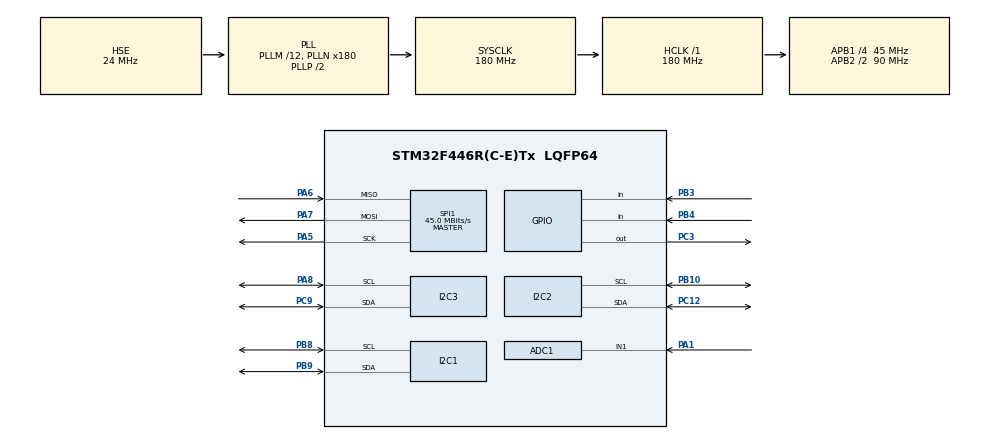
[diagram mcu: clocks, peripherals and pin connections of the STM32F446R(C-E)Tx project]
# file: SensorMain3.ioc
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ADC1.Channel-0\#ChannelRegularConversion=ADC_CHANNEL_1
ADC1.NbrOfConversionFlag=1
ADC1.Rank-0\#ChannelRegularConversion=1
ADC1.SamplingTime-0\#ChannelRegularConversion=ADC_SAMPLETIME_3CYCLES
ADC1.master=1
FATFS._MAX_SS=4096
FATFS._USE_LFN=1
I2C1.I2C_Mode=I2C_Fast
I2C3.I2C_Mode=I2C_Fast
Mcu.Family=STM32F4
Mcu.Name=STM32F446R(C-E)Tx
Mcu.Package=LQFP64
NVIC.PriorityGroup=NVIC_PRIORITYGROUP_4
PA1.Signal=ADCx_IN1
PA13.Mode=Serial_Wire
PA13.Signal=SYS_JTMS-SWDIO
PA14.Mode=Serial_Wire
PA14.Signal=SYS_JTCK-SWCLK
PA5.Mode=Full_Duplex_Master
PA5.Signal=SPI1_SCK
PA6.Mode=Full_Duplex_Master
PA6.Signal=SPI1_MISO
PA7.Mode=Full_Duplex_Master
PA7.Signal=SPI1_MOSI
PA8.Mode=I2C
PA8.Signal=I2C3_SCL
PB10.Mode=I2C
PB10.Signal=I2C2_SCL
PB3.Signal=GPIO_Input
PB4.Signal=GPIO_Input
PB8.Mode=I2C
PB8.Signal=I2C1_SCL
PB9.Mode=I2C
PB9.Signal=I2C1_SDA
PC12.Mode=I2C
PC12.Signal=I2C2_SDA
PC3.Signal=GPIO_Output
PC9.Mode=I2C
PC9.Signal=I2C3_SDA
PH0-OSC_IN.Mode=HSE-External-Oscillator
PH0-OSC_IN.Signal=RCC_OSC_IN
PH1-OSC_OUT.Mode=HSE-External-Oscillator
PH1-OSC_OUT.Signal=RCC_OSC_OUT
ProjectManager.HeapSize=0x200
ProjectManager.StackSize=0x400
ProjectManager.TargetToolchain=STM32CubeIDE
RCC.AHBFreq_Value=180000000
RCC.APB1CLKDivider=RCC_HCLK_DIV4
RCC.APB1Freq_Value=45000000
RCC.APB1TimFreq_Value=90000000
RCC.APB2CLKDivider=RCC_HCLK_DIV2
RCC.APB2Freq_Value=90000000
RCC.APB2TimFreq_Value=180000000
RCC.CortexFreq_Value=180000000
RCC.HCLKFreq_Value=180000000
RCC.HSE_VALUE=24000000
RCC.PLLM=12
RCC.PLLN=180
RCC.PLLSourceVirtual=RCC_PLLSOURCE_HSE
RCC.SYSCLKFreq_VALUE=180000000
RCC.SYSCLKSource=RCC_SYSCLKSOURCE_PLLCLK
RCC.USBFreq_Value=180000000
RCC.VCOOutputFreq_Value=360000000
SH.ADCx_IN1.0=ADC1_IN1,IN1
SPI1.BaudRatePrescaler=SPI_BAUDRATEPRESCALER_2
SPI1.CalculateBaudRate=45.0 MBits/s
SPI1.Direction=SPI_DIRECTION_2LINES
SPI1.Mode=SPI_MODE_MASTER
SPI1.VirtualType=VM_MASTER
VP_FATFS_VS_Generic.Mode=User_defined
board=custom

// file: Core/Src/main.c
/* USER CODE BEGIN Header */
/**
  ******************************************************************************
  * @file           : main.c
  * @brief          : Main program body
  ******************************************************************************
  * @attention
  *
  * Copyright (c) 2022 STMicroelectronics.
  * All rights reserved.
  *
  * This software is licensed under terms that can be found in the LICENSE file
  * in the root directory of this software component.
  * If no LICENSE file comes with this software, it is provided AS-IS.
  *
  ******************************************************************************
  */
/* USER CODE END Header */
#include "main.h"
#include "fatfs.h"
#include "MPU6050.h"
#include "MS5611.h"
#include "stdio.h"
#include "string.h"
/* USER CODE BEGIN Includes */
FATFS fs;
FIL fil;
FRESULT res;
UINT byteswritten;
/* USER CODE END Includes */

 ADC_HandleTypeDef hadc1;

I2C_HandleTypeDef hi2c1;
I2C_HandleTypeDef hi2c2;
I2C_HandleTypeDef hi2c3;

SPI_HandleTypeDef hspi1;

void SystemClock_Config(void);
static void MX_GPIO_Init(void);
static void MX_ADC1_Init(void);
static void MX_I2C1_Init(void);
static void MX_I2C2_Init(void);
static void MX_I2C3_Init(void);
static void MX_SPI1_Init(void);

/* USER CODE BEGIN 0 */

extern float MPU6050_Roll;
extern float MPU6050_Yaw;
extern float MPU6050_Pitch;

unsigned char Mag_Calib[6] = {0};

/* USER CODE END 0 */

int main(void)
{
  /* USER CODE BEGIN 1 */
	MS5611_t MS5611;
	MPU6050_t MPU6050;
  /* USER CODE END 1 */

  /* MCU Configuration--------------------------------------------------------*/

  /* Reset of all peripherals, Initializes the Flash interface and the Systick. */
  HAL_Init();

  /* USER CODE BEGIN Init */
    MPU6050.Gyro_X_Offset = -75;
  	MPU6050.Gyro_Y_Offset = -25;
  	MPU6050.Gyro_Z_Offset = 10;
  /* USER CODE END Init */
  	HAL_Delay(500);
  	f_mount(&fs, "", 0);
  	f_open(&fil, "write.txt", FA_OPEN_ALWAYS | FA_WRITE | FA_READ);

  /* Configure the system clock */
  SystemClock_Config();

  /* Initialize all configured peripherals */
  MX_GPIO_Init();
  MX_ADC1_Init();
  MX_I2C1_Init();
  MX_I2C2_Init();
  MX_I2C3_Init();
  MX_SPI1_Init();
  MX_FATFS_Init();
  /* USER CODE BEGIN 2 */
	MS5611_Reset(&hi2c1, &MS5611);
	MS5611_ReadProm(&hi2c1, &MS5611);

    float accel_x_g;
    float accel_y_g;
    float accel_z_g;
    float mpu_temp_c;
    float gyro_x_rad;
    float gyro_y_rad;
    float gyro_z_rad;
    float magn_x_gs;
    float magn_y_gs;
    float magn_z_gs;
    float pressure_float;
    float baro_temp_float;
    int g_h;
    float g_lf;
    int g_l;
    uint8_t tx;
    char str[10];char str1[10];char str2[10];char str3[10];char str4[10];char str5[10];char str6[10];char str7[10];char str8[10];char str9[10];char str10[10];

	// MPU6050 + HMC5883L
	MPU6050_Init(&hi2c1, 2, 2, 5);
	MPU6050_Bypass(&hi2c1);
	HMC5883L_Setup(&hi2c1);
	MPU6050_Master(&hi2c1);
	MPU6050_Slave_Read(&hi2c1);

	MPU6050_Read_All_DMA(&hi2c1, &MPU6050);
	HAL_Delay(20);
	MPU6050_Parsing_NoOffest(&MPU6050);
	if(MPU6050.Mag_X_RAW > MPU6050.Mag_X_Max) MPU6050.Mag_X_Max = MPU6050.Mag_X_RAW;
	if(MPU6050.Mag_X_RAW < MPU6050.Mag_X_Min) MPU6050.Mag_X_Min = MPU6050.Mag_X_RAW;

	if(MPU6050.Mag_Y_RAW > MPU6050.Mag_Y_Max) MPU6050.Mag_Y_Max = MPU6050.Mag_Y_RAW;
	if(MPU6050.Mag_Y_RAW < MPU6050.Mag_Y_Min) MPU6050.Mag_Y_Min = MPU6050.Mag_Y_RAW;

	if(MPU6050.Mag_Z_RAW > MPU6050.Mag_Z_Max) MPU6050.Mag_Z_Max = MPU6050.Mag_Z_RAW;
	if(MPU6050.Mag_Z_RAW < MPU6050.Mag_Z_Min) MPU6050.Mag_Z_Min = MPU6050.Mag_Z_RAW;

	MPU6050.Mag_X_Offset = (MPU6050.Mag_X_Max + MPU6050.Mag_X_Min) / 2;
	MPU6050.Mag_Y_Offset = (MPU6050.Mag_Y_Max + MPU6050.Mag_Y_Min) / 2;
	MPU6050.Mag_Z_Offset = (MPU6050.Mag_Z_Max + MPU6050.Mag_Z_Min) / 2;

	Mag_Calib[0] = MPU6050.Mag_X_Offset >> 8;
	Mag_Calib[1] = MPU6050.Mag_X_Offset;
	Mag_Calib[2] = MPU6050.Mag_Y_Offset >> 8;
	Mag_Calib[3] = MPU6050.Mag_Y_Offset;
	Mag_Calib[4] = MPU6050.Mag_Z_Offset >> 8;
	Mag_Calib[5] = MPU6050.Mag_Z_Offset;

	MPU6050.Mag_X_Offset = Mag_Calib[0] << 8 | Mag_Calib[1];
	MPU6050.Mag_Y_Offset = Mag_Calib[2] << 8 | Mag_Calib[3];
	MPU6050.Mag_Z_Offset = Mag_Calib[4] << 8 | Mag_Calib[5];

	MPU6050_Read_All_DMA(&hi2c1, &MPU6050);
	MPU6050_Parsing(&MPU6050);

  /* USER CODE END 2 */

  /* Infinite loop */
  /* USER CODE BEGIN WHILE */
   	int count=0;
    HAL_GPIO_WritePin(GPIOC, GPIO_PIN_3,GPIO_PIN_SET);
  while (1)
  {
	  	// extract the raw values
	  	int16_t  accel_x  = MPU6050.Ax;
	  	int16_t  accel_y  = MPU6050.Ay;
	  	int16_t  accel_z  = MPU6050.Az;
//	  	int16_t  mpu_temp = rx_buffer[6]  << 8 | rx_buffer[7];
	  	int16_t  gyro_x   = MPU6050.Gx;
	  	int16_t  gyro_y   = MPU6050.Gy;
	  	int16_t  gyro_z   = MPU6050.Gz;
	  	int16_t  magn_x   = MPU6050.Mag_X_RAW;
	  	int16_t  magn_y   = MPU6050.Mag_Y_RAW;
	  	int16_t  magn_z   = MPU6050.Mag_Z_RAW;

	  // convert accelerometer readings into G's
	  	accel_x_g = accel_x / 8192.0f;
	  	accel_y_g = accel_y / 8192.0f;
	  	accel_z_g = accel_z / 8192.0f;

	  	// convert temperature reading into degrees Celsius
//	  	mpu_temp_c = mpu_temp / 340.0f + 36.53f;

	  	// convert gyro readings into Radians per second
	  	gyro_x_rad = gyro_x / 939.650784f;
	  	gyro_y_rad = gyro_y / 939.650784f;
	  	gyro_z_rad = gyro_z / 939.650784f;

	  	// convert magnetometer readings into Gauss's
	  	magn_x_gs = magn_x / 660.0f;
	  	magn_y_gs = magn_y / 660.0f;
	  	magn_z_gs = magn_z / 660.0f;

	  g_h=accel_x_g;
	  g_lf=accel_x_g-g_h;
	  g_l= trunc(g_lf*1000);
	  sprintf(str, "%d.%d", g_h,g_l);

	  g_h=accel_y_g;
	  g_lf=accel_y_g-g_h;
	  g_l= trunc(g_lf*1000);
	  sprintf(str2,"%d.%d", g_h,g_l);

	  g_h=accel_z_g;
	  g_lf=accel_z_g-g_h;
	  g_l= trunc(g_lf*1000);
	  sprintf(str3, "%d.%d", g_h,g_l);

	  g_h=gyro_x_rad;
	  g_lf=gyro_x_rad-g_h;
	  g_l= trunc(g_lf*1000);
	  sprintf(str4, "%d.%d", g_h,g_l);

	  g_h=gyro_y_rad;
	  g_lf=gyro_y_rad-g_h;
	  g_l= trunc(g_lf*1000);
	  sprintf(str5, "%d.%d", g_h,g_l);

	  g_h=gyro_z_rad;
	  g_lf=gyro_z_rad-g_h;
	  g_l= trunc(g_lf*1000);
	  sprintf(str6, "%d.%d", g_h,g_l);

	  g_h=magn_x;
	  g_lf=magn_x-g_h;
	  g_l= trunc(g_lf*1000);
	  sprintf(str7, "%d.%d", g_h,g_l);

	  g_h=magn_y;
	  g_lf=magn_y-g_h;
	  g_l= trunc(g_lf*1000);
	  sprintf(str8, "%d.%d", g_h,g_l);

	  g_h=magn_z;
	  g_lf=magn_z-g_h;
	  g_l= trunc(g_lf*1000);
	  sprintf(str9, "%d.%d", g_h,g_l);

/*	  g_h=mpu_temp_c;
	  g_lf=mpu_temp_c-g_h;
	  g_l= trunc(g_lf*1000);
	  sprintf(str10, "%d.%d", g_h,g_l);
*/
	  f_puts(str , &fil);
	  f_puts("  ", &fil);
	  f_puts(str2 , &fil);
	  f_puts("  ", &fil);
	  f_puts(str3 , &fil);
	  f_puts( "  ", &fil);
	  f_puts(str4 , &fil);
	  f_puts("  ", &fil);
	  f_puts(str5 , &fil);
	  f_puts("  ", &fil);
	  f_puts(str6 , &fil);
	  f_puts( "  ", &fil);
	  f_puts(str7 , &fil);
	  f_puts("  ", &fil);
	  f_puts(str8 , &fil);
	  f_puts("  ", &fil);
	  f_puts(str9 , &fil);
	  f_puts( "  ", &fil);
	  f_puts(str10 , &fil);
	  f_puts( "  ", &fil);
	  f_puts( "\n", &fil);

	  count++;
	  if (count>5000){
		f_close(&fil);
		HAL_GPIO_WritePin(GPIOC, GPIO_PIN_3,GPIO_PIN_RESET);
		break;
	  }
  }
  /* USER CODE END 3 */
}

void SystemClock_Config(void)
{
  RCC_OscInitTypeDef RCC_OscInitStruct = {0};
  RCC_ClkInitTypeDef RCC_ClkInitStruct = {0};

  /** Configure the main internal regulator output voltage
  */
  __HAL_RCC_PWR_CLK_ENABLE();
  __HAL_PWR_VOLTAGESCALING_CONFIG(PWR_REGULATOR_VOLTAGE_SCALE1);

  /** Initializes the RCC Oscillators according to the specified parameters
  * in the RCC_OscInitTypeDef structure.
  */
  RCC_OscInitStruct.OscillatorType = RCC_OSCILLATORTYPE_HSE;
  RCC_OscInitStruct.HSEState = RCC_HSE_ON;
  RCC_OscInitStruct.PLL.PLLState = RCC_PLL_ON;
  RCC_OscInitStruct.PLL.PLLSource = RCC_PLLSOURCE_HSE;
  RCC_OscInitStruct.PLL.PLLM = 12;
  RCC_OscInitStruct.PLL.PLLN = 180;
  RCC_OscInitStruct.PLL.PLLP = RCC_PLLP_DIV2;
  RCC_OscInitStruct.PLL.PLLQ = 2;
  RCC_OscInitStruct.PLL.PLLR = 2;
  if (HAL_RCC_OscConfig(&RCC_OscInitStruct) != HAL_OK)
  {
    Error_Handler();
  }

  /** Activate the Over-Drive mode
  */
  if (HAL_PWREx_EnableOverDrive() != HAL_OK)
  {
    Error_Handler();
  }

  /** Initializes the CPU, AHB and APB buses clocks
  */
  RCC_ClkInitStruct.ClockType = RCC_CLOCKTYPE_HCLK|RCC_CLOCKTYPE_SYSCLK
                              |RCC_CLOCKTYPE_PCLK1|RCC_CLOCKTYPE_PCLK2;
  RCC_ClkInitStruct.SYSCLKSource = RCC_SYSCLKSOURCE_PLLCLK;
  RCC_ClkInitStruct.AHBCLKDivider = RCC_SYSCLK_DIV1;
  RCC_ClkInitStruct.APB1CLKDivider = RCC_HCLK_DIV4;
  RCC_ClkInitStruct.APB2CLKDivider = RCC_HCLK_DIV2;

  if (HAL_RCC_ClockConfig(&RCC_ClkInitStruct, FLASH_LATENCY_5) != HAL_OK)
  {
    Error_Handler();
  }
}

static void MX_ADC1_Init(void)
{

  ADC_ChannelConfTypeDef sConfig = {0};

  /** Configure the global features of the ADC (Clock, Resolution, Data Alignment and number of conversion)
  */
  hadc1.Instance = ADC1;
  hadc1.Init.ClockPrescaler = ADC_CLOCK_SYNC_PCLK_DIV4;
  hadc1.Init.Resolution = ADC_RESOLUTION_12B;
  hadc1.Init.ScanConvMode = DISABLE;
  hadc1.Init.ContinuousConvMode = DISABLE;
  hadc1.Init.DiscontinuousConvMode = DISABLE;
  hadc1.Init.ExternalTrigConvEdge = ADC_EXTERNALTRIGCONVEDGE_NONE;
  hadc1.Init.ExternalTrigConv = ADC_SOFTWARE_START;
  hadc1.Init.DataAlign = ADC_DATAALIGN_RIGHT;
  hadc1.Init.NbrOfConversion = 1;
  hadc1.Init.DMAContinuousRequests = DISABLE;
  hadc1.Init.EOCSelection = ADC_EOC_SINGLE_CONV;
  if (HAL_ADC_Init(&hadc1) != HAL_OK)
  {
    Error_Handler();
  }

  /** Configure for the selected ADC regular channel its corresponding rank in the sequencer and its sample time.
  */
  sConfig.Channel = ADC_CHANNEL_1;
  sConfig.Rank = 1;
  sConfig.SamplingTime = ADC_SAMPLETIME_3CYCLES;
  if (HAL_ADC_ConfigChannel(&hadc1, &sConfig) != HAL_OK)
  {
    Error_Handler();
  }

}

static void MX_I2C1_Init(void)
{

  hi2c1.Instance = I2C1;
  hi2c1.Init.ClockSpeed = 400000;
  hi2c1.Init.DutyCycle = I2C_DUTYCYCLE_2;
  hi2c1.Init.OwnAddress1 = 0;
  hi2c1.Init.AddressingMode = I2C_ADDRESSINGMODE_7BIT;
  hi2c1.Init.DualAddressMode = I2C_DUALADDRESS_DISABLE;
  hi2c1.Init.OwnAddress2 = 0;
  hi2c1.Init.GeneralCallMode = I2C_GENERALCALL_DISABLE;
  hi2c1.Init.NoStretchMode = I2C_NOSTRETCH_DISABLE;
  if (HAL_I2C_Init(&hi2c1) != HAL_OK)
  {
    Error_Handler();
  }

}

static void MX_I2C2_Init(void)
{

  hi2c2.Instance = I2C2;
  hi2c2.Init.ClockSpeed = 100000;
  hi2c2.Init.DutyCycle = I2C_DUTYCYCLE_2;
  hi2c2.Init.OwnAddress1 = 0;
  hi2c2.Init.AddressingMode = I2C_ADDRESSINGMODE_7BIT;
  hi2c2.Init.DualAddressMode = I2C_DUALADDRESS_DISABLE;
  hi2c2.Init.OwnAddress2 = 0;
  hi2c2.Init.GeneralCallMode = I2C_GENERALCALL_DISABLE;
  hi2c2.Init.NoStretchMode = I2C_NOSTRETCH_DISABLE;
  if (HAL_I2C_Init(&hi2c2) != HAL_OK)
  {
    Error_Handler();
  }

}

static void MX_I2C3_Init(void)
{

  hi2c3.Instance = I2C3;
  hi2c3.Init.ClockSpeed = 400000;
  hi2c3.Init.DutyCycle = I2C_DUTYCYCLE_2;
  hi2c3.Init.OwnAddress1 = 0;
  hi2c3.Init.AddressingMode = I2C_ADDRESSINGMODE_7BIT;
  hi2c3.Init.DualAddressMode = I2C_DUALADDRESS_DISABLE;
  hi2c3.Init.OwnAddress2 = 0;
  hi2c3.Init.GeneralCallMode = I2C_GENERALCALL_DISABLE;
  hi2c3.Init.NoStretchMode = I2C_NOSTRETCH_DISABLE;
  if (HAL_I2C_Init(&hi2c3) != HAL_OK)
  {
    Error_Handler();
  }

}

static void MX_SPI1_Init(void)
{

  /* SPI1 parameter configuration*/
  hspi1.Instance = SPI1;
  hspi1.Init.Mode = SPI_MODE_MASTER;
  hspi1.Init.Direction = SPI_DIRECTION_2LINES;
  hspi1.Init.DataSize = SPI_DATASIZE_8BIT;
  hspi1.Init.CLKPolarity = SPI_POLARITY_LOW;
  hspi1.Init.CLKPhase = SPI_PHASE_1EDGE;
  hspi1.Init.NSS = SPI_NSS_SOFT;
  hspi1.Init.BaudRatePrescaler = SPI_BAUDRATEPRESCALER_2;
  hspi1.Init.FirstBit = SPI_FIRSTBIT_MSB;
  hspi1.Init.TIMode = SPI_TIMODE_DISABLE;
  hspi1.Init.CRCCalculation = SPI_CRCCALCULATION_DISABLE;
  hspi1.Init.CRCPolynomial = 10;
  if (HAL_SPI_Init(&hspi1) != HAL_OK)
  {
    Error_Handler();
  }

}

static void MX_GPIO_Init(void)
{
  GPIO_InitTypeDef GPIO_InitStruct = {0};

  /* GPIO Ports Clock Enable */
  __HAL_RCC_GPIOH_CLK_ENABLE();
  __HAL_RCC_GPIOC_CLK_ENABLE();
  __HAL_RCC_GPIOA_CLK_ENABLE();
  __HAL_RCC_GPIOB_CLK_ENABLE();

  /*Configure GPIO pin Output Level */
  HAL_GPIO_WritePin(GPIOC, GPIO_PIN_3, GPIO_PIN_RESET);

  /*Configure GPIO pin : PC3 */
  GPIO_InitStruct.Pin = GPIO_PIN_3;
  GPIO_InitStruct.Mode = GPIO_MODE_OUTPUT_PP;
  GPIO_InitStruct.Pull = GPIO_NOPULL;
  GPIO_InitStruct.Speed = GPIO_SPEED_FREQ_LOW;
  HAL_GPIO_Init(GPIOC, &GPIO_InitStruct);

  /*Configure GPIO pins : PB3 PB4 */
  GPIO_InitStruct.Pin = GPIO_PIN_3|GPIO_PIN_4;
  GPIO_InitStruct.Mode = GPIO_MODE_INPUT;
  GPIO_InitStruct.Pull = GPIO_NOPULL;
  HAL_GPIO_Init(GPIOB, &GPIO_InitStruct);

}

void Error_Handler(void)
{
  __disable_irq();
  while (1)
  {
  }
}
